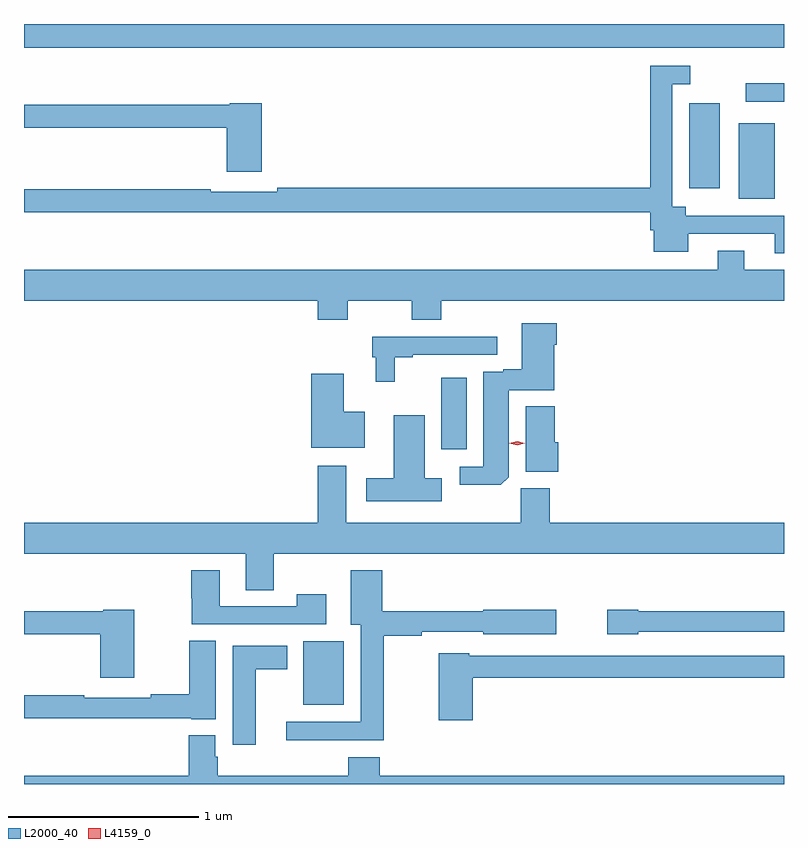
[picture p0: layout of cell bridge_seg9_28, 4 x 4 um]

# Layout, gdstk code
import gdstk
lib = gdstk.Library(unit=1e-6, precision=1e-09)
def R(c, l, rs):  # rectangles x0, y0, x1, y1
    for r in rs: c.add(gdstk.rectangle(r[:2], r[2:], *l))
def P(c, l, *ps):  # polygons
    for p in ps: c.add(gdstk.Polygon(p, *l))
L2000_40 = (2000, 40)
L4159_0 = (4159, 0)

bridge_seg9_28 = lib.new_cell('bridge_seg9_28')
R(bridge_seg9_28, L2000_40, [(948.506,1188.965,948.718,1189.3), (949.232,1190.31,949.366,1190.686), (950.798,1191.629,950.986,1192.027), (950.537,1191.684,950.698,1192.132), (950.835,1192.14,951.036,1192.236), (947.036,1192.424,951.036,1192.549)])
P(bridge_seg9_28, L2000_40, [(951.036,1191.54),(950.518,1191.54),(950.518,1191.586),(950.448,1191.586),(950.448,1192.233),(950.542,1192.233),(950.542,1192.329),(950.332,1192.329),(950.332,1191.686),(948.37,1191.686),(948.37,1191.666),(948.02,1191.666),(948.02,1191.679),(947.036,1191.679),(947.036,1191.558),(950.332,1191.558),(950.332,1191.464),(950.351,1191.464),(950.351,1191.35),(950.533,1191.35),(950.533,1191.444),(950.987,1191.444),(950.987,1191.342),(951.036,1191.342)],
  [(948.287,1192.131),(948.12,1192.131),(948.12,1192.123),(947.036,1192.123),(947.036,1192.002),(948.104,1192.002),(948.104,1191.771),(948.287,1191.771)],
  [(948.741,1191.092),(949.078,1191.092),(949.078,1190.993),(949.233,1190.993),(949.233,1191.092),(951.036,1191.092),(951.036,1191.256),(950.827,1191.256),(950.827,1191.355),(950.687,1191.355),(950.687,1191.256),(947.036,1191.256),(947.036,1191.092),(948.581,1191.092),(948.581,1190.993),(948.741,1190.993)],
  [(949.588,1190.164),(949.588,1190.622),(949.828,1190.622),(949.828,1190.861),(949.841,1190.861),(949.841,1190.974),(949.655,1190.974),(949.655,1190.731),(949.559,1190.731),(949.559,1190.718),(949.454,1190.718),(949.454,1190.22),(949.329,1190.22),(949.329,1190.123),(949.546,1190.123)],
  [(948.987,1190.796),(949.081,1190.796),(949.081,1190.808),(949.528,1190.808),(949.528,1190.904),(948.868,1190.904),(948.868,1190.794),(948.887,1190.794),(948.887,1190.667),(948.987,1190.667)],
  [(948.829,1190.509),(948.718,1190.509),(948.718,1190.707),(948.548,1190.707),(948.548,1190.318),(948.829,1190.318)],
  [(949.849,1190.347),(949.829,1190.347),(949.829,1190.537),(949.676,1190.537),(949.676,1190.192),(949.849,1190.192)],
  [(949.234,1190.158),(949.144,1190.158),(949.144,1190.491),(948.983,1190.491),(948.983,1190.158),(948.837,1190.158),(948.837,1190.036),(949.234,1190.036)],
  [(948.351,1189.76),(951.036,1189.76),(951.036,1189.924),(949.802,1189.924),(949.802,1190.106),(949.651,1190.106),(949.651,1189.924),(948.733,1189.924),(948.733,1190.224),(948.581,1190.224),(948.581,1189.924),(947.036,1189.924),(947.036,1189.76),(948.203,1189.76),(948.203,1189.57),(948.351,1189.57)],
  [(948.628,1189.549),(948.472,1189.549),(948.472,1189.485),(948.067,1189.485),(948.067,1189.675),(947.915,1189.675),(947.915,1189.527),(947.92,1189.527),(947.92,1189.389),(948.628,1189.389)],
  [(948.93,1189.33),(949.13,1189.33),(949.13,1189.35),(949.452,1189.35),(949.452,1189.337),(949.837,1189.337),(949.837,1189.467),(949.452,1189.467),(949.452,1189.459),(948.922,1189.459),(948.922,1189.675),(948.755,1189.675),(948.755,1189.388),(948.809,1189.388),(948.809,1188.876),(948.417,1188.876),(948.417,1188.779),(948.93,1188.779)],
  [(950.268,1189.35),(951.036,1189.35),(951.036,1189.459),(950.268,1189.459),(950.268,1189.467),(950.106,1189.467),(950.106,1189.337),(950.268,1189.337)],
  [(947.616,1189.467),(947.454,1189.467),(947.454,1189.459),(947.036,1189.459),(947.036,1189.338),(947.438,1189.338),(947.438,1189.107),(947.616,1189.107)],
  [(948.046,1189.304),(947.905,1189.304),(947.905,1189.022),(947.704,1189.022),(947.704,1189.002),(947.354,1189.002),(947.354,1189.015),(947.036,1189.015),(947.036,1188.894),(947.916,1188.894),(947.916,1188.89),(948.046,1188.89)],
  [(948.256,1189.154),(948.421,1189.154),(948.421,1189.276),(948.134,1189.276),(948.134,1188.756),(948.256,1188.756)],
  [(949.397,1189.108),(951.036,1189.108),(951.036,1189.224),(949.38,1189.224),(949.38,1189.237),(949.219,1189.237),(949.219,1188.885),(949.397,1188.885)],
  [(951.036,1188.592),(948.908,1188.592),(948.908,1188.691),(948.743,1188.691),(948.743,1188.592),(948.056,1188.592),(948.056,1188.693),(948.043,1188.693),(948.043,1188.805),(947.903,1188.805),(947.903,1188.592),(947.036,1188.592),(947.036,1188.549),(951.036,1188.549)])
P(bridge_seg9_28, L4159_0, [(949.631,1190.333),(949.59,1190.342),(949.59,1190.342),(949.59,1190.342),(949.631,1190.352),(949.672,1190.343),(949.672,1190.343),(949.672,1190.343)])

lib.write_gds('bridge_seg9_28.gds')
